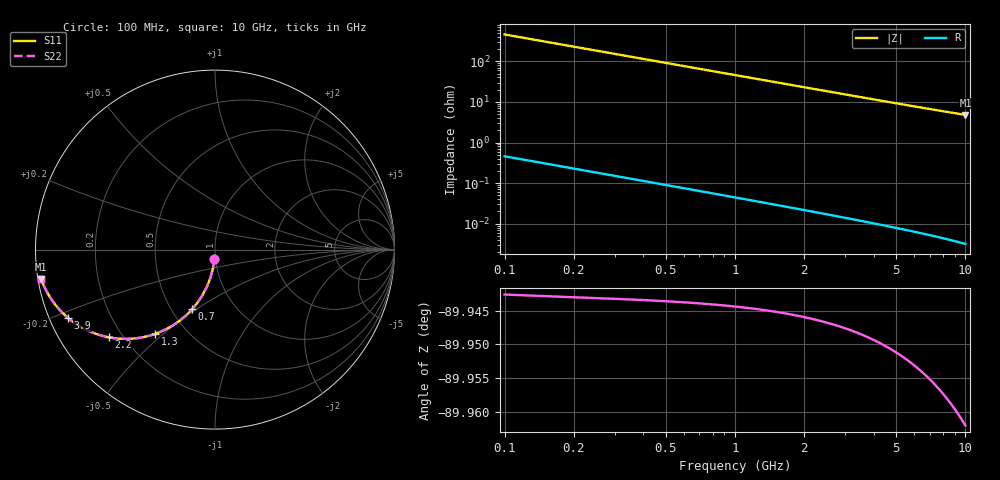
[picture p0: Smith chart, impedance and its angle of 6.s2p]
# Hz S RI R 50.00
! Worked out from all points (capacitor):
!   100 points, 100 MHz to 10 GHz, reference 50 ohm
!   read as one part in shunt: C = 3.47 pF near 100 MHz
!   lowest |Z| = 4.79 ohm at 10 GHz (marker M1)
!   S11 on the Smith chart (normalised r, x): 100 MHz: 0.99, -0.11; 700 MHz: 0.63, -0.48; 1.3 GHz: 0.33, -0.47; 2.2 GHz: 0.15, -0.35; 3.9 GHz: 0.05, -0.22; 10 GHz: 0.01, -0.08
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1e8  -0.00296 -0.0543  0.9969 -0.0545  0.9969 -0.0545  -0.00296 -0.0543
2e8  -0.0118 -0.1076  0.9881 -0.108  0.9881 -0.108  -0.0118 -0.1076
3e8  -0.0262 -0.1591  0.9737 -0.1597  0.9737 -0.1597  -0.0262 -0.1591
4e8  -0.0456 -0.2078  0.9543 -0.2087  0.9543 -0.2087  -0.0456 -0.2078
5e8  -0.0694 -0.2533  0.9304 -0.2543  0.9304 -0.2543  -0.0694 -0.2533
6e8  -0.097 -0.2949  0.9029 -0.2962  0.9029 -0.2962  -0.097 -0.2949
7e8  -0.1275 -0.3324  0.8724 -0.3339  0.8724 -0.3339  -0.1275 -0.3324
8e8  -0.1603 -0.3656  0.8396 -0.3673  0.8396 -0.3673  -0.1603 -0.3656
1e9  -0.2296 -0.4191  0.7702 -0.4212  0.7702 -0.4212  -0.2296 -0.4191
1.3e9  -0.3349 -0.4701  0.665 -0.4729  0.665 -0.4729  -0.3349 -0.4701
1.5e9  -0.4013 -0.4881  0.5986 -0.4913  0.5986 -0.4913  -0.4013 -0.4881
1.8e9  -0.4911 -0.4975  0.5088 -0.5013  0.5088 -0.5013  -0.4911 -0.4975
2.2e9  -0.5904 -0.4889  0.4095 -0.4936  0.4095 -0.4936  -0.5904 -0.4889
2.5e9  -0.6505 -0.4736  0.3494 -0.479  0.3494 -0.479  -0.6505 -0.4736
2.8e9  -0.7001 -0.4547  0.2997 -0.4607  0.2997 -0.4607  -0.7001 -0.4547
3.4e9  -0.7749 -0.4134  0.2249 -0.4207  0.2249 -0.4207  -0.7749 -0.4134
3.9e9  -0.8192 -0.3801  0.1806 -0.3884  0.1806 -0.3884  -0.8192 -0.3801
4.5e9  -0.8579 -0.3437  0.1419 -0.3534  0.1419 -0.3534  -0.8579 -0.3437
5.1e9  -0.8859 -0.3118  0.1139 -0.3228  0.1139 -0.3228  -0.8859 -0.3118
6.7e9  -0.9307 -0.2459  0.069 -0.2604  0.069 -0.2604  -0.9307 -0.2459
8.4e9  -0.955 -0.1972  0.0447 -0.2155  0.0447 -0.2155  -0.955 -0.1972
1e10  -0.968 -0.1638  0.0316 -0.1859  0.0316 -0.1859  -0.968 -0.1638
